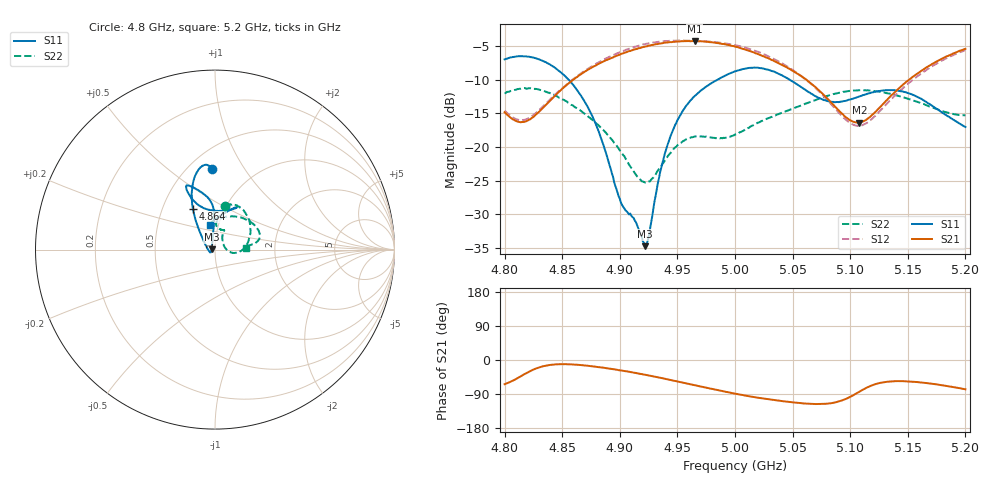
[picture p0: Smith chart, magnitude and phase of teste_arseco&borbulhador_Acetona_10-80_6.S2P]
! Network Analyzer HP8722D
! Hewlett-Packard
! Data name: Linha & Wilkinson
! Saver's name: Rodrigo Anjos
! Comments: Teste da utilização de aquisição
! continua pelo VNA HP8722D
! Time and date: 25/4/2025 15:19
!  Frequency  S11  S21  S12  S22
# HZ  S  MA R 50
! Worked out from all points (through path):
!   401 points, 4.8 GHz to 5.2 GHz, reference 50 ohm
!   highest |S21| = -4.20 dB at 4.965 GHz (marker M1); lowest = -16.4 dB at 5.108 GHz (marker M2)
!   lowest |S11| = -34.8 dB at 4.922 GHz (marker M3), VSWR 1.04, Z = 48.2 + j0.155 ohm
!   |S11| at or under -10 dB: 4.856 GHz to 4.985 GHz (128.7 MHz wide, 2.62 % of centre); 5.048 GHz to end of sweep
!   |S22| runs from -25.3 to -11.2 dB; largest |S21 - S12| = 1.2
!   S11 on the Smith chart (normalised r, x): 4.8 GHz: 0.65, +0.73; 4.864 GHz: 0.71, +0.35; 5.2 GHz: 0.91, +0.26
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4.8e9  0.4498 92.1  0.1816 -63.8  0.1865 69.2  0.2509 76.7
4.811e9  0.4734 95.3  0.1549 -48.3  0.1605 83.4  0.2699 69.3
4.82e9  0.4705 98.4  0.1574 -32.6  0.1627 97.8  0.2729 61.6
4.844e9  0.3878 108.6  0.2427 -11.6  0.2458 118.8  0.242 36.5
4.864e9  0.2585 118.4  0.3391 -12.8  0.3421 120.7  0.1912 14.0
4.867e9  0.236 120.1  0.352 -13.7  0.3568 120.4  0.1837 10.6
4.882e9  0.128 130.8  0.4184 -19.0  0.4296 117.5  0.1436 -3.3
4.901e9  0.0385 179.9  0.4938 -27.5  0.5125 111.1  0.09216 -10.4
4.913e9  0.02831 -146.5  0.5343 -33.8  0.5592 105.6  0.06389 0.6
4.922e9  0.01822 175.0  0.5605 -38.9  0.5844 100.7  0.05431 23.0
4.925e9  0.02117 144.4  0.5692 -40.7  0.5926 99.0  0.05544 31.8
4.934e9  0.05847 103.4  0.5889 -46.4  0.6096 93.2  0.06854 53.0
4.946e9  0.1331 93.0  0.607 -54.1  0.6198 85.7  0.09471 63.0
4.965e9  0.2396 92.7  0.6168 -66.6  0.6198 73.7  0.1198 64.7
5e9  0.3663 109.2  0.5596 -88.7  0.5755 50.8  0.1237 83.2
5.03e9  0.3735 115.3  0.4544 -104.0  0.4682 33.8  0.165 83.9
5.067e9  0.2479 107.0  0.2931 -115.7  0.2907 23.4  0.2191 56.7
5.086e9  0.216 89.2  0.2042 -112.5  0.1976 28.5  0.2483 39.6
5.108e9  0.2383 68.8  0.1519 -83.5  0.1438 59.5  0.2649 23.5
5.134e9  0.2657 62.7  0.2343 -56.7  0.2194 88.6  0.2502 12.6
5.169e9  0.2086 75.7  0.4051 -62.0  0.3889 84.7  0.1999 7.4
5.2e9  0.1409 101.7  0.5386 -77.3  0.5269 70.2  0.1718 3.2
